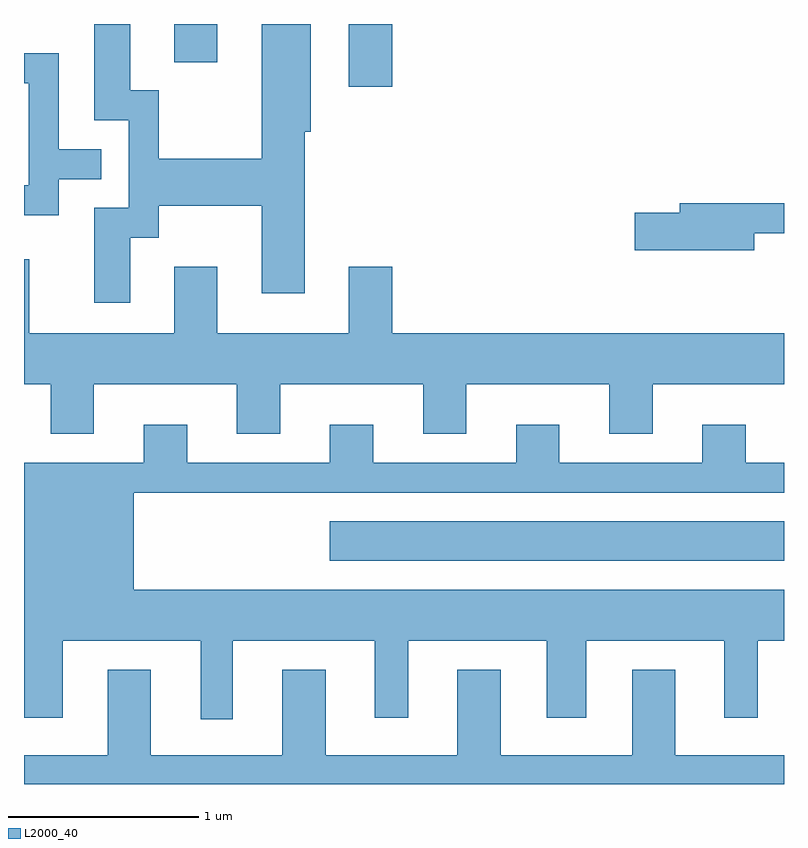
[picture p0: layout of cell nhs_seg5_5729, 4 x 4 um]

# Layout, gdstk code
import gdstk
lib = gdstk.Library(unit=1e-6, precision=1e-09)
def R(c, l, rs):  # rectangles x0, y0, x1, y1
    for r in rs: c.add(gdstk.rectangle(r[:2], r[2:], *l))
def P(c, l, *ps):  # polygons
    for p in ps: c.add(gdstk.Polygon(p, *l))
L2000_40 = (2000, 40)

nhs_seg5_5729 = lib.new_cell('nhs_seg5_5729')
R(nhs_seg5_5729, L2000_40, [(357.221,1409.246,359.611,1409.454), (357.321,1411.741,357.549,1412.072), (356.401,1411.871,356.629,1412.072)])
P(nhs_seg5_5729, L2000_40, [(356.169,1410.946),(356.319,1410.946),(356.319,1411.116),(356.861,1411.116),(356.861,1410.656),(357.089,1410.656),(357.089,1411.506),(357.119,1411.506),(357.119,1412.072),(356.861,1412.072),(356.861,1411.364),(356.319,1411.364),(356.319,1411.724),(356.169,1411.724),(356.169,1412.072),(355.981,1412.072),(355.981,1411.566),(356.161,1411.566),(356.161,1411.104),(355.981,1411.104),(355.981,1410.606),(356.169,1410.606)],
  [(355.794,1411.256),(356.018,1411.256),(356.018,1411.414),(355.794,1411.414),(355.794,1411.919),(355.611,1411.919),(355.611,1411.761),(355.636,1411.761),(355.636,1411.224),(355.611,1411.224),(355.611,1411.066),(355.794,1411.066)],
  [(359.454,1410.971),(359.611,1410.971),(359.611,1411.129),(359.061,1411.129),(359.061,1411.079),(358.826,1411.079),(358.826,1410.881),(359.454,1410.881)],
  [(357.549,1410.794),(357.321,1410.794),(357.321,1410.444),(356.629,1410.444),(356.629,1410.794),(356.401,1410.794),(356.401,1410.444),(355.639,1410.444),(355.639,1410.834),(355.611,1410.834),(355.611,1410.176),(355.751,1410.176),(355.751,1409.916),(355.979,1409.916),(355.979,1410.176),(356.731,1410.176),(356.731,1409.916),(356.959,1409.916),(356.959,1410.176),(357.711,1410.176),(357.711,1409.916),(357.939,1409.916),(357.939,1410.176),(358.691,1410.176),(358.691,1409.916),(358.919,1409.916),(358.919,1410.176),(359.611,1410.176),(359.611,1410.444),(357.549,1410.444)],
  [(356.709,1408.826),(357.456,1408.826),(357.456,1408.421),(357.634,1408.421),(357.634,1408.826),(358.361,1408.826),(358.361,1408.421),(358.569,1408.421),(358.569,1408.826),(359.296,1408.826),(359.296,1408.421),(359.474,1408.421),(359.474,1408.826),(359.611,1408.826),(359.611,1409.094),(356.189,1409.094),(356.189,1409.606),(359.611,1409.606),(359.611,1409.764),(359.409,1409.764),(359.409,1409.964),(359.181,1409.964),(359.181,1409.764),(358.429,1409.764),(358.429,1409.964),(358.201,1409.964),(358.201,1409.764),(357.449,1409.764),(357.449,1409.964),(357.221,1409.964),(357.221,1409.764),(356.469,1409.764),(356.469,1409.964),(356.241,1409.964),(356.241,1409.764),(355.611,1409.764),(355.611,1408.421),(355.814,1408.421),(355.814,1408.826),(356.541,1408.826),(356.541,1408.413),(356.709,1408.413)],
  [(359.611,1408.224),(359.039,1408.224),(359.039,1408.674),(358.811,1408.674),(358.811,1408.224),(358.119,1408.224),(358.119,1408.674),(357.891,1408.674),(357.891,1408.224),(357.199,1408.224),(357.199,1408.674),(356.971,1408.674),(356.971,1408.224),(356.279,1408.224),(356.279,1408.674),(356.051,1408.674),(356.051,1408.224),(355.611,1408.224),(355.611,1408.072),(359.611,1408.072)])

lib.write_gds('nhs_seg5_5729.gds')
